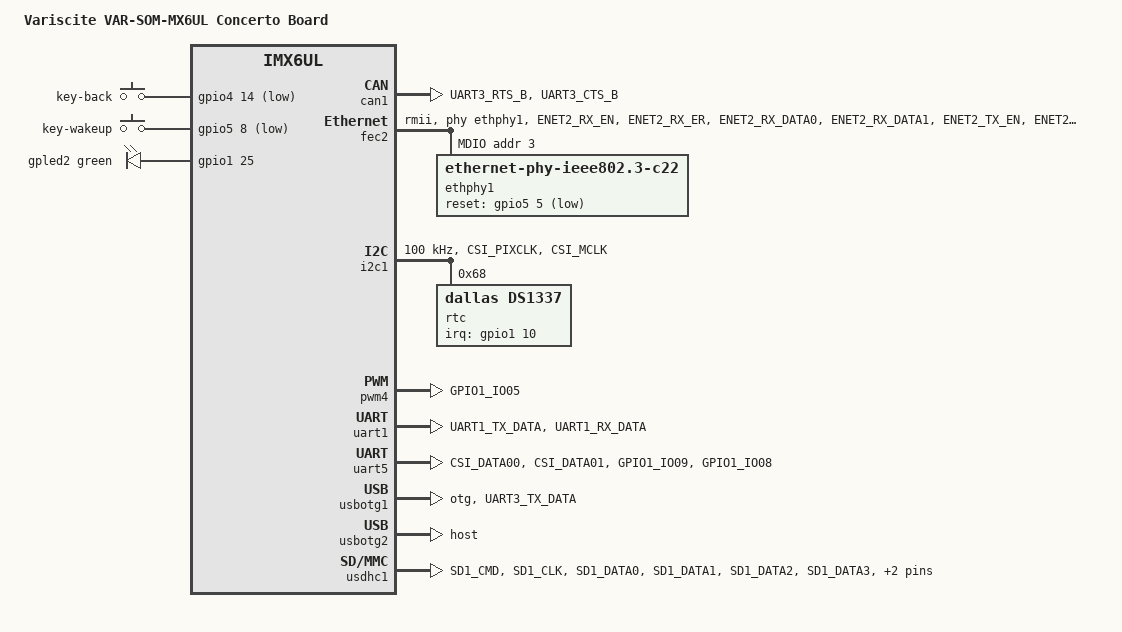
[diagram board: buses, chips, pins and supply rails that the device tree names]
// SPDX-License-Identifier: GPL-2.0+
/*
 * Support for Variscite MX6 Concerto Carrier board with the VAR-SOM-MX6UL
 * Variscite SoM mounted on it
 *
 * Copyright 2019 Variscite Ltd.
 * Copyright 2025 Bootlin
 */

#include "imx6ul-var-som.dtsi"
#include <dt-bindings/leds/common.h>

/ {
	model = "Variscite VAR-SOM-MX6UL Concerto Board";
	compatible = "variscite,mx6ulconcerto", "variscite,var-som-imx6ul", "fsl,imx6ul";

	chosen {
		stdout-path = &uart1;
	};

	gpio-keys {
		compatible = "gpio-keys";
		pinctrl-names = "default";
		pinctrl-0 = <&pinctrl_gpio_key_back>, <&pinctrl_gpio_key_wakeup>;

		key-back {
			gpios = <&gpio4 14 GPIO_ACTIVE_LOW>;
			linux,code = <KEY_BACK>;
		};

		key-wakeup {
			gpios = <&gpio5 8 GPIO_ACTIVE_LOW>;
			linux,code = <KEY_WAKEUP>;
			wakeup-source;
		};
	};

	leds {
		compatible = "gpio-leds";
		pinctrl-names = "default";
		pinctrl-0 = <&pinctrl_gpio_leds>;

		led-0 {
			function = LED_FUNCTION_STATUS;
			color = <LED_COLOR_ID_GREEN>;
			label = "gpled2";
			gpios = <&gpio1 25 GPIO_ACTIVE_HIGH>;
			linux,default-trigger = "heartbeat";
		};
	};
};

&can1 {
	pinctrl-names = "default";
	pinctrl-0 = <&pinctrl_flexcan1>;
	status = "okay";
};

&fec1 {
	status = "disabled";
};

&fec2 {
	pinctrl-names = "default";
	pinctrl-0 = <&pinctrl_enet2>, <&pinctrl_enet2_gpio>, <&pinctrl_enet2_mdio>;
	phy-mode = "rmii";
	phy-handle = <&ethphy1>;
	status = "okay";

	mdio {
		#address-cells = <1>;
		#size-cells = <0>;

		ethphy1: ethernet-phy@3 {
			compatible = "ethernet-phy-ieee802.3-c22";
			reg = <3>;
			clocks = <&rmii_ref_clk>;
			clock-names = "rmii-ref";
			reset-gpios = <&gpio5 5 GPIO_ACTIVE_LOW>;
			reset-assert-us = <100000>;
			micrel,led-mode = <0>;
			micrel,rmii-reference-clock-select-25-mhz = <1>;
		};
	};
};

&i2c1 {
	clock-frequency = <100000>;
	pinctrl-names = "default";
	pinctrl-0 = <&pinctrl_i2c1>;
	status = "okay";

	rtc@68 {
		/*
		 * To actually use this interrupt
		 * connect pins J14.8 & J14.10 on the Concerto-Board.
		 */
		compatible = "dallas,ds1337";
		reg = <0x68>;
		pinctrl-names = "default";
		pinctrl-0 = <&pinctrl_rtc>;
		interrupt-parent = <&gpio1>;
		interrupts = <10 IRQ_TYPE_EDGE_FALLING>;
	};
};

&iomuxc {
	pinctrl_enet2: enet2grp {
		fsl,pins = <
			MX6UL_PAD_ENET2_RX_EN__ENET2_RX_EN	0x1b0b0
			MX6UL_PAD_ENET2_RX_ER__ENET2_RX_ER	0x1b0b0
			MX6UL_PAD_ENET2_RX_DATA0__ENET2_RDATA00	0x1b0b0
			MX6UL_PAD_ENET2_RX_DATA1__ENET2_RDATA01	0x1b0b0
			MX6UL_PAD_ENET2_TX_EN__ENET2_TX_EN	0x1b0b0
			MX6UL_PAD_ENET2_TX_DATA0__ENET2_TDATA00	0x1b0b0
			MX6UL_PAD_ENET2_TX_DATA1__ENET2_TDATA01	0x1b0b0
			MX6UL_PAD_ENET2_TX_CLK__ENET2_REF_CLK2	0x4001b031
		>;
	};

	pinctrl_enet2_gpio: enet2-gpiogrp {
		fsl,pins = <
			MX6UL_PAD_SNVS_TAMPER5__GPIO5_IO05	0x1b0b0 /* fec2 reset */
		>;
	};

	pinctrl_enet2_mdio: enet2-mdiogrp {
		fsl,pins = <
			MX6UL_PAD_GPIO1_IO06__ENET2_MDIO	0x1b0b0
			MX6UL_PAD_GPIO1_IO07__ENET2_MDC		0x1b0b0
		>;
	};

	pinctrl_flexcan1: flexcan1grp {
		fsl,pins = <
			MX6UL_PAD_UART3_RTS_B__FLEXCAN1_RX	0x1b020
			MX6UL_PAD_UART3_CTS_B__FLEXCAN1_TX	0x1b020
		>;
	};

	pinctrl_gpio_key_back: gpio-key-backgrp {
		fsl,pins = <
			MX6UL_PAD_NAND_CE1_B__GPIO4_IO14	0x17059
		>;
	};

	pinctrl_gpio_leds: gpio-ledsgrp {
		fsl,pins = <
			MX6UL_PAD_UART3_RX_DATA__GPIO1_IO25	0x1b0b0	/* GPLED2 */
		>;
	};

	pinctrl_gpio_key_wakeup: gpio-keys-wakeupgrp {
		fsl,pins = <
			MX6UL_PAD_SNVS_TAMPER8__GPIO5_IO08	0x17059
		>;
	};

	pinctrl_i2c1: i2c1grp {
		fsl,pins = <
			MX6UL_PAD_CSI_PIXCLK__I2C1_SCL		0x4001b8b0
			MX6UL_PAD_CSI_MCLK__I2C1_SDA		0x4001b8b0
		>;
	};

	pinctrl_pwm4: pwm4grp {
		fsl,pins = <
			MX6UL_PAD_GPIO1_IO05__PWM4_OUT		0x110b0
		>;
	};

	pinctrl_rtc: rtcgrp {
		fsl,pins = <
			MX6UL_PAD_JTAG_MOD__GPIO1_IO10		0x1b0b0 /* RTC alarm IRQ */
		>;
	};

	pinctrl_uart1: uart1grp {
		fsl,pins = <
			MX6UL_PAD_UART1_TX_DATA__UART1_DCE_TX	0x1b0b1
			MX6UL_PAD_UART1_RX_DATA__UART1_DCE_RX	0x1b0b1
		>;
	};

	pinctrl_uart5: uart5grp {
		fsl,pins = <
			MX6UL_PAD_CSI_DATA00__UART5_DCE_TX	0x1b0b1
			MX6UL_PAD_CSI_DATA01__UART5_DCE_RX	0x1b0b1
			MX6UL_PAD_GPIO1_IO09__UART5_DCE_CTS	0x1b0b1
			MX6UL_PAD_GPIO1_IO08__UART5_DCE_RTS	0x1b0b1
		>;
	};

	pinctrl_usb_otg1_id: usbotg1idgrp {
		fsl,pins = <
			MX6UL_PAD_UART3_TX_DATA__ANATOP_OTG1_ID	0x17059
		>;
	};

	pinctrl_usdhc1: usdhc1grp {
		fsl,pins = <
			MX6UL_PAD_SD1_CMD__USDHC1_CMD		0x17059
			MX6UL_PAD_SD1_CLK__USDHC1_CLK		0x17059
			MX6UL_PAD_SD1_DATA0__USDHC1_DATA0	0x17059
			MX6UL_PAD_SD1_DATA1__USDHC1_DATA1	0x17059
			MX6UL_PAD_SD1_DATA2__USDHC1_DATA2	0x17059
			MX6UL_PAD_SD1_DATA3__USDHC1_DATA3	0x17059
		>;
	};

	pinctrl_usdhc1_100mhz: usdhc1-100mhzgrp {
		fsl,pins = <
			MX6UL_PAD_SD1_CMD__USDHC1_CMD		0x170b9
			MX6UL_PAD_SD1_CLK__USDHC1_CLK		0x100b9
			MX6UL_PAD_SD1_DATA0__USDHC1_DATA0	0x170b9
			MX6UL_PAD_SD1_DATA1__USDHC1_DATA1	0x170b9
			MX6UL_PAD_SD1_DATA2__USDHC1_DATA2	0x170b9
			MX6UL_PAD_SD1_DATA3__USDHC1_DATA3	0x170b9
		>;
	};

	pinctrl_usdhc1_200mhz: usdhc1-200mhzgrp {
		fsl,pins = <
			MX6UL_PAD_SD1_CMD__USDHC1_CMD		0x170f9
			MX6UL_PAD_SD1_CLK__USDHC1_CLK		0x100f9
			MX6UL_PAD_SD1_DATA0__USDHC1_DATA0	0x170f9
			MX6UL_PAD_SD1_DATA1__USDHC1_DATA1	0x170f9
			MX6UL_PAD_SD1_DATA2__USDHC1_DATA2	0x170f9
			MX6UL_PAD_SD1_DATA3__USDHC1_DATA3	0x170f9
		>;
	};

	pinctrl_usdhc1_gpio: usdhc1-gpiogrp {
		fsl,pins = <
			MX6UL_PAD_GPIO1_IO00__GPIO1_IO00	0x1b0b1 /* CD */
		>;
	};

	pinctrl_wdog: wdoggrp {
		fsl,pins = <
			MX6UL_PAD_GPIO1_IO01__WDOG1_WDOG_B	0x78b0
		>;
	};
};

&pwm4 {
	pinctrl-names = "default";
	pinctrl-0 = <&pinctrl_pwm4>;
	status = "okay";
};

&snvs_pwrkey {
	status = "disabled";
};

&snvs_rtc {
	status = "disabled";
};

&tsc {
	/*
	 * Conflics with wdog1 ext-reset-output & SD CD pins,
	 * so we keep it disabled by default.
	 */
	status = "disabled";
};

/* Console UART */
&uart1 {
	pinctrl-names = "default";
	pinctrl-0 = <&pinctrl_uart1>;
	status = "okay";
};

/* ttymxc4 UART */
&uart5 {
	pinctrl-names = "default";
	pinctrl-0 = <&pinctrl_uart5>;
	uart-has-rtscts;
	status = "okay";
};

&usbotg1 {
	pinctrl-names = "default";
	pinctrl-0 = <&pinctrl_usb_otg1_id>;
	dr_mode = "otg";
	disable-over-current;
	srp-disable;
	hnp-disable;
	adp-disable;
	status = "okay";
};

&usbotg2 {
	dr_mode = "host";
	disable-over-current;
	status = "okay";
};

&usdhc1 {
	pinctrl-names = "default", "state_100mhz", "state_200mhz";
	pinctrl-0 = <&pinctrl_usdhc1>, <&pinctrl_usdhc1_gpio>;
	pinctrl-1 = <&pinctrl_usdhc1_100mhz>, <&pinctrl_usdhc1_gpio>;
	pinctrl-2 = <&pinctrl_usdhc1_200mhz>, <&pinctrl_usdhc1_gpio>;
	cd-gpios = <&gpio1 0 GPIO_ACTIVE_LOW>;
	no-1-8-v;
	keep-power-in-suspend;
	wakeup-source;
	status = "okay";
};

&wdog1 {
	pinctrl-names = "default";
	pinctrl-0 = <&pinctrl_wdog>;
	/*
	 * To actually use ext-reset-output
	 * connect pins J17.3 & J17.8 on the Concerto-Board
	 */
	fsl,ext-reset-output;
};
